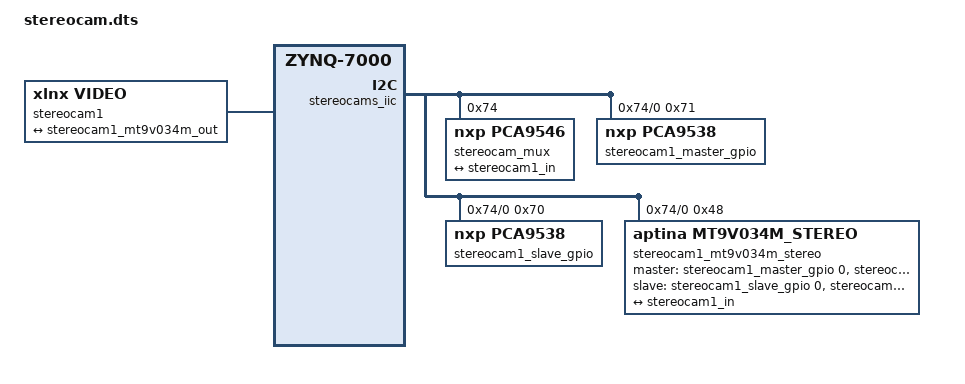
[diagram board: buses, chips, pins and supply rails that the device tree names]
/dts-v1/;
/plugin/;

/ {
    compatible = "xlnx,zynq-7000";

    fragment@0 {
        target-path = "/";
        __overlay__ {
            stereocams_clk: stereocams_clock@0 {
                compatible = "fixed-clock";
                #clock-cells = <0>;
                clock-frequency = <26600000>;
            };

            stereocams_peripherals_clk: stereocams_clock@1 {
                compatible = "fixed-clock";
                #clock-cells = <0>;
                clock-frequency = <100000000>;
            };
        };
    };

    fragment@1 {
        target = <&amba>;
        __overlay__ {
            #address-cells = <1>;
            #size-cells = <1>;

            stereocams_iic: i2c@42000000 {
                compatible = "xlnx,xps-iic-2.00.a";
                clocks = <&stereocams_peripherals_clk>;
                interrupt-parent = <&intc>;
                interrupts = < 0 32 4 >;
                reg = < 0x42000000 0x10000 >;
                #address-cells = <1>;
                #size-cells = <0>;

                stereocam_mux: i2c-switch@74 {
                    compatible = "nxp,pca9546";
                    #address-cells = <1>;
                    #size-cells = <0>;
                    reg = <0x74>;

                    i2c@0 {
                        #address-cells = <1>;
                        #size-cells = <0>;
                        reg = <0>;

                        stereocam1_master_gpio: gpio@71 {
                            compatible = "nxp,pca9538";
                            reg = <0x71>;
                            gpio-controller;
                            #gpio-cells = <2>;
                        };

                        stereocam1_slave_gpio: gpio@70 {
                            compatible = "nxp,pca9538";
                            reg = <0x70>;
                            gpio-controller;
                            #gpio-cells = <2>;
                        };

                        stereocam1_mt9v034m_stereo: stereocam@0 {
                            compatible = "aptina,mt9v034m_stereo";
                            clocks = <&stereocams_clk>;

                            /* Address of the master cam */
                            reg = <0x48>;

                            /* GPIOs for master camera */
                            master-gpios        =   < &stereocam1_master_gpio 0 0 /*GPIO_ACTIVE_HIGH*/      //ADR0
                                                    &stereocam1_master_gpio 1 0 /*GPIO_ACTIVE_HIGH*/      //ADR1
                                                    &stereocam1_master_gpio 2 1 /*GPIO_ACTIVE_LOW */      //RESET
                                                    &stereocam1_master_gpio 3 0 /*GPIO_ACTIVE_HIGH*/      //STANDBY
                                                    &stereocam1_master_gpio 4 0 /*GPIO_ACTIVE_HIGH*/ >;   //DOUTEN

                            /* GPIOs for slave camera */
                            slave-gpios         =   < &stereocam1_slave_gpio 0 0 /*GPIO_ACTIVE_HIGH*/       //ADR0
                                                    &stereocam1_slave_gpio 1 0 /*GPIO_ACTIVE_HIGH*/       //ADR1
                                                    &stereocam1_slave_gpio 2 1 /*GPIO_ACTIVE_LOW */       //RESET
                                                    &stereocam1_slave_gpio 3 0 /*GPIO_ACTIVE_HIGH*/       //STANDBY
                                                    &stereocam1_slave_gpio 4 0 /*GPIO_ACTIVE_HIGH*/ >;    //DOUTEN
                            ports {
                                #address-cells = <1>;
                                #size-cells = <0>;

                                port@0 {
                                    reg = <0>;
                                    stereocam1_mt9v034m_out: endpoint {
                                        remote-endpoint = <&stereocam1_in>;
                                    };
                                };
                            };
                        };
                    };

                    i2c@1 {
                        #address-cells = <1>;
                        #size-cells = <0>;
                        reg = <1>;
                    };

                    i2c@2 {
                        #address-cells = <1>;
                        #size-cells = <0>;
                        reg = <2>;
                    };

                    i2c@3 {
                        #address-cells = <1>;
                        #size-cells = <0>;
                        reg = <3>;
                    };
                };
            };

            stereocam1_axi_vdma: dma@42010000 {
                #dma-cells = <1>;

                compatible = "xlnx,axi-vdma-1.00.a";

                interrupt-parent = <&intc>;
                interrupts = <0 33 4>;

                reg = <0x42010000 0x10000>;
                dma-ranges = <0x00000000 0x00000000 0x40000000>;

                xlnx,addrwidth = <32>;
                xlnx,flush-fsync = <0x1>;
                /* FIXME: Figure out why this doesn't work with more than one framestores */
                /* https://forums.xilinx.com/xlnx/board/crawl_message?board.id=ELINUX&message.id=13118 */
                xlnx,num-fstores = <0x1>;

                clocks = <&stereocams_peripherals_clk>;
                clock-names = "s_axi_lite_aclk";

                dma-channel@42010030 {
                    compatible = "xlnx,axi-vdma-s2mm-channel";
                    interrupts = <0 33 4>;
                    xlnx,datawidth = <0x20>;
                    xlnx,device-id = <0x0>;
                    /*xlnx,genlock-mode ;*/
                };
            };

            stereocam1 {
                compatible = "xlnx,video";
                dmas = <&stereocam1_axi_vdma 0>;
                dma-names = "port0";

                ports { 
                    #address-cells = <1>;
                    #size-cells = <0>;

                    port@0 {
                        reg = <0>;
                        direction = "input";
                        stereocam1_in: endpoint {
                            remote-endpoint = <&stereocam1_mt9v034m_out>;
                        };
                    };
                };
            };
        };
    };
};
